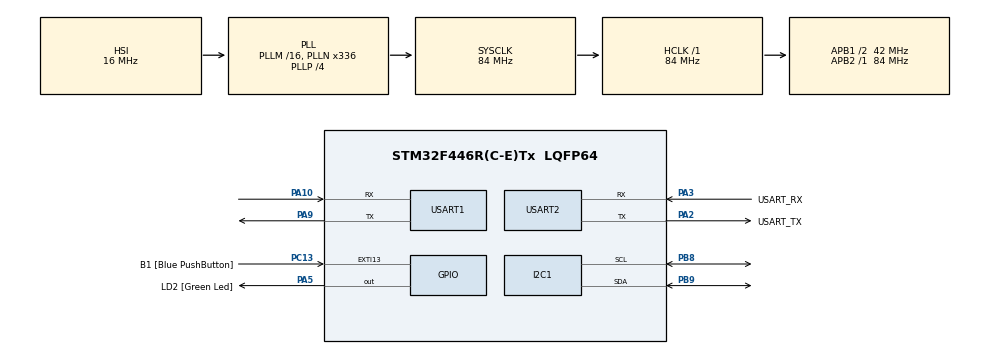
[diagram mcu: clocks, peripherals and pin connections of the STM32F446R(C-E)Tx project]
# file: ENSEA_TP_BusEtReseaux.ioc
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Dma.Request0=USART1_RX
Dma.Request1=USART1_TX
Dma.USART1_RX.0.Direction=DMA_PERIPH_TO_MEMORY
Dma.USART1_RX.0.FIFOMode=DMA_FIFOMODE_DISABLE
Dma.USART1_RX.0.Instance=DMA2_Stream2
Dma.USART1_RX.0.MemDataAlignment=DMA_MDATAALIGN_BYTE
Dma.USART1_RX.0.MemInc=DMA_MINC_ENABLE
Dma.USART1_RX.0.Mode=DMA_NORMAL
Dma.USART1_RX.0.PeriphDataAlignment=DMA_PDATAALIGN_BYTE
Dma.USART1_RX.0.PeriphInc=DMA_PINC_DISABLE
Dma.USART1_RX.0.Priority=DMA_PRIORITY_LOW
Dma.USART1_TX.1.Direction=DMA_MEMORY_TO_PERIPH
Dma.USART1_TX.1.FIFOMode=DMA_FIFOMODE_DISABLE
Dma.USART1_TX.1.Instance=DMA2_Stream7
Dma.USART1_TX.1.MemDataAlignment=DMA_MDATAALIGN_BYTE
Dma.USART1_TX.1.MemInc=DMA_MINC_ENABLE
Dma.USART1_TX.1.Mode=DMA_NORMAL
Dma.USART1_TX.1.PeriphDataAlignment=DMA_PDATAALIGN_BYTE
Dma.USART1_TX.1.PeriphInc=DMA_PINC_DISABLE
Dma.USART1_TX.1.Priority=DMA_PRIORITY_LOW
Mcu.Family=STM32F4
Mcu.Name=STM32F446R(C-E)Tx
Mcu.Package=LQFP64
NVIC.DMA2_Stream2_IRQn=true\:0\:0\:false\:false\:true\:false\:true\:true
NVIC.DMA2_Stream7_IRQn=true\:0\:0\:false\:false\:true\:false\:true\:true
NVIC.PriorityGroup=NVIC_PRIORITYGROUP_0
NVIC.USART1_IRQn=true\:0\:0\:false\:false\:true\:true\:true\:true
NVIC.USART2_IRQn=true\:0\:0\:false\:false\:true\:true\:true\:true
PA10.Mode=Asynchronous
PA10.Signal=USART1_RX
PA13.GPIO_Label=TMS
PA13.Mode=Serial_Wire
PA13.Signal=SYS_JTMS-SWDIO
PA14.GPIO_Label=TCK
PA14.Mode=Serial_Wire
PA14.Signal=SYS_JTCK-SWCLK
PA2.GPIO_Label=USART_TX
PA2.Mode=Asynchronous
PA2.Signal=USART2_TX
PA3.GPIO_Label=USART_RX
PA3.Mode=Asynchronous
PA3.Signal=USART2_RX
PA5.GPIO_Label=LD2 [Green Led]
PA5.Signal=GPIO_Output
PA9.Mode=Asynchronous
PA9.Signal=USART1_TX
PB3.GPIO_Label=SWO
PB3.Signal=SYS_JTDO-SWO
PB8.Mode=I2C
PB8.Signal=I2C1_SCL
PB9.Mode=I2C
PB9.Signal=I2C1_SDA
PC13.GPIO_Label=B1 [Blue PushButton]
PC13.GPIO_ModeDefaultEXTI=GPIO_MODE_IT_FALLING
PC13.Signal=GPXTI13
PC14-OSC32_IN.Mode=LSE-External-Oscillator
PC14-OSC32_IN.Signal=RCC_OSC32_IN
PC15-OSC32_OUT.Mode=LSE-External-Oscillator
PC15-OSC32_OUT.Signal=RCC_OSC32_OUT
PH0-OSC_IN.Mode=HSE-External-Oscillator
PH0-OSC_IN.Signal=RCC_OSC_IN
PH1-OSC_OUT.Mode=HSE-External-Oscillator
PH1-OSC_OUT.Signal=RCC_OSC_OUT
ProjectManager.HeapSize=0x200
ProjectManager.StackSize=0x400
ProjectManager.TargetToolchain=STM32CubeIDE
RCC.48MHZClocksFreq_Value=84000000
RCC.AHBFreq_Value=84000000
RCC.APB1CLKDivider=RCC_HCLK_DIV2
RCC.APB1Freq_Value=42000000
RCC.APB1TimFreq_Value=84000000
RCC.APB2Freq_Value=84000000
RCC.APB2TimFreq_Value=84000000
RCC.CortexFreq_Value=84000000
RCC.FLatency-AdvancedSettings=FLASH_LATENCY_2
RCC.HCLKFreq_Value=84000000
RCC.HSE_VALUE=8000000
RCC.HSI_VALUE=16000000
RCC.PLLN=336
RCC.PLLP=RCC_PLLP_DIV4
RCC.SYSCLKFreq_VALUE=84000000
RCC.SYSCLKSource=RCC_SYSCLKSOURCE_PLLCLK
RCC.USBFreq_Value=168000000
RCC.VCOOutputFreq_Value=336000000
USART1.VirtualMode=VM_ASYNC
USART2.VirtualMode=VM_ASYNC
board=NUCLEO-F446RE

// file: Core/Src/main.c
/* USER CODE BEGIN Header */
/**
 ******************************************************************************
 * @file           : main.c
 * @brief          : Main program body
 ******************************************************************************
 * @attention
 *
 * Copyright (c) 2022 STMicroelectronics.
 * All rights reserved.
 *
 * This software is licensed under terms that can be found in the LICENSE file
 * in the root directory of this software component.
 * If no LICENSE file comes with this software, it is provided AS-IS.
 *
 ******************************************************************************
 */
/* USER CODE END Header */
#include "main.h"
#include "dma.h"
#include "i2c.h"
#include "usart.h"
#include "gpio.h"

/* USER CODE BEGIN Includes */
#include <stdio.h>
#include <stdlib.h>
/* USER CODE END Includes */

/* USER CODE BEGIN PD */
#define ADD_BMP280 				0x77 << 1

#define BMP_MODE_NORMAL 		0b11
#define BMP_SAMPLING_SKIPPED	0b000
#define BMP_SAMPLING_1			0b001
#define BMP_SAMPLING_2			0b010
#define BMP_SAMPLING_4			0b011
#define BMP_SAMPLING_8			0b100
#define BMP_SAMPLING_16			0b111

#define BMP_CONFIG_T			5
#define BMP_CONFIG_P			2

#define RPI_BUFFER_SIZE 			20
/* USER CODE END PD */

/* USER CODE BEGIN PV */
char Buff_Rpi_Rx[RPI_BUFFER_SIZE];
char Buff_Rpi_Tx[RPI_BUFFER_SIZE];
/* USER CODE END PV */

void SystemClock_Config(void);

/* USER CODE BEGIN 0 */
void HAL_UART_RxCpltCallback(UART_HandleTypeDef *huart){
	if(huart->Instance == USART1){
		if(Buff_Rpi_Rx[1] == 'E' && Buff_Rpi_Rx[2] == 'T' && Buff_Rpi_Rx[3] == '_'){
			uint8_t Tx_Size;
			if(Buff_Rpi_Rx[0] == 'G'){

				switch(Buff_Rpi_Rx[4]){
				case 'T' :
					Tx_Size = sprintf(Buff_Rpi_Tx,"T=+%4.2f_C\r\n",((float)(rand()%50))/(rand()%10));//BMPget_Temp()
					break;
				case 'P' :
					Tx_Size = sprintf(Buff_Rpi_Tx,"P=%uPa\r\n",rand()%200000);//BMPget_Press();
					break;
				case 'K' :
					Tx_Size = sprintf(Buff_Rpi_Tx,"T=%10.5f\r\n",((float)(rand()%50))/(rand()%10));//BMPget_CoefK();
					break;
				case 'A' :
					Tx_Size = sprintf(Buff_Rpi_Tx,"T=%10.6f\r\n",((float)(rand()%2024))/(rand()%10));//BMPget_Angle();
					break;
				}
				HAL_UART_Transmit_DMA(&huart1, Buff_Rpi_Tx, Tx_Size);
			}else if(Buff_Rpi_Rx[0] == 'S' && Buff_Rpi_Rx[4] == 'K' && Buff_Rpi_Rx[5] == '='){
				Tx_Size = sprintf(Buff_Rpi_Tx,"SET_K=OK\r\n");
				HAL_UART_Transmit_DMA(&huart1, Buff_Rpi_Tx, Tx_Size);
			}
		}
		HAL_UART_Receive_DMA(&huart1, Buff_Rpi_Rx, 5);
	}
}
/* USER CODE END 0 */

int main(void)
{

	/* MCU Configuration--------------------------------------------------------*/

	/* Reset of all peripherals, Initializes the Flash interface and the Systick. */
	HAL_Init();

	/* Configure the system clock */
	SystemClock_Config();

	/* Initialize all configured peripherals */
	MX_GPIO_Init();
	MX_DMA_Init();
	MX_USART2_UART_Init();
	MX_I2C1_Init();
	MX_USART1_UART_Init();
	/* USER CODE BEGIN 2 */
	/*
  uint8_t * Registre =0xD0;
  uint8_t * msg;*/

    /*
	uint8_t Registre[1] = {0xD0};
	uint8_t data[3];
	HAL_I2C_Master_Transmit(&hi2c1, ADD_BMP280, Registre, 1, HAL_MAX_DELAY);
	HAL_I2C_Master_Receive(&hi2c1, ADD_BMP280, data, 1, HAL_MAX_DELAY);
	printf("\r\n     %x\n\r",data[0]);

	HAL_Delay(100);

	uint8_t Config[2] = {0xF5,
			BMP_MODE_NORMAL | BMP_SAMPLING_16 << BMP_CONFIG_P | BMP_SAMPLING_2 << BMP_CONFIG_T};
	HAL_I2C_Master_Transmit(&hi2c1, ADD_BMP280, Config, 2, HAL_MAX_DELAY);

	HAL_I2C_Master_Transmit(&hi2c1, ADD_BMP280, Config, 1, HAL_MAX_DELAY);
	HAL_I2C_Master_Receive(&hi2c1, ADD_BMP280, data, 1, HAL_MAX_DELAY);
	printf("\r\n   %x",data[0]);
	HAL_Delay(10);*/

	HAL_UART_Receive_DMA(&huart1, Buff_Rpi_Rx, 5);
	/* USER CODE END 2 */

	/* Infinite loop */
	/* USER CODE BEGIN WHILE */
	while (1)
	{
		//printf("HELLO");
/*
		HAL_I2C_Master_Transmit(&hi2c1, ADD_BMP280, Config, 2, HAL_MAX_DELAY);
		HAL_I2C_Master_Transmit(&hi2c1, ADD_BMP280, Config, 1, HAL_MAX_DELAY);
		HAL_I2C_Master_Receive(&hi2c1, ADD_BMP280, data, 1, HAL_MAX_DELAY);
		HAL_UART_Receive(&huart1,Buff_Rpi_Rx,1,HAL_MAX_DELAY);
		HAL_UART_Transmit(&huart1,Buff_Rpi_Rx,1,HAL_MAX_DELAY);
		/* USER CODE END WHILE */

	}
}

void SystemClock_Config(void)
{
	RCC_OscInitTypeDef RCC_OscInitStruct = {0};
	RCC_ClkInitTypeDef RCC_ClkInitStruct = {0};

	/** Configure the main internal regulator output voltage
	 */
	__HAL_RCC_PWR_CLK_ENABLE();
	__HAL_PWR_VOLTAGESCALING_CONFIG(PWR_REGULATOR_VOLTAGE_SCALE3);

	/** Initializes the RCC Oscillators according to the specified parameters
	 * in the RCC_OscInitTypeDef structure.
	 */
	RCC_OscInitStruct.OscillatorType = RCC_OSCILLATORTYPE_HSI;
	RCC_OscInitStruct.HSIState = RCC_HSI_ON;
	RCC_OscInitStruct.HSICalibrationValue = RCC_HSICALIBRATION_DEFAULT;
	RCC_OscInitStruct.PLL.PLLState = RCC_PLL_ON;
	RCC_OscInitStruct.PLL.PLLSource = RCC_PLLSOURCE_HSI;
	RCC_OscInitStruct.PLL.PLLM = 16;
	RCC_OscInitStruct.PLL.PLLN = 336;
	RCC_OscInitStruct.PLL.PLLP = RCC_PLLP_DIV4;
	RCC_OscInitStruct.PLL.PLLQ = 2;
	RCC_OscInitStruct.PLL.PLLR = 2;
	if (HAL_RCC_OscConfig(&RCC_OscInitStruct) != HAL_OK)
	{
		Error_Handler();
	}

	/** Initializes the CPU, AHB and APB buses clocks
	 */
	RCC_ClkInitStruct.ClockType = RCC_CLOCKTYPE_HCLK|RCC_CLOCKTYPE_SYSCLK
			|RCC_CLOCKTYPE_PCLK1|RCC_CLOCKTYPE_PCLK2;
	RCC_ClkInitStruct.SYSCLKSource = RCC_SYSCLKSOURCE_PLLCLK;
	RCC_ClkInitStruct.AHBCLKDivider = RCC_SYSCLK_DIV1;
	RCC_ClkInitStruct.APB1CLKDivider = RCC_HCLK_DIV2;
	RCC_ClkInitStruct.APB2CLKDivider = RCC_HCLK_DIV1;

	if (HAL_RCC_ClockConfig(&RCC_ClkInitStruct, FLASH_LATENCY_2) != HAL_OK)
	{
		Error_Handler();
	}
}

void Error_Handler(void)
{
	__disable_irq();
	while (1)
	{
	}
}
